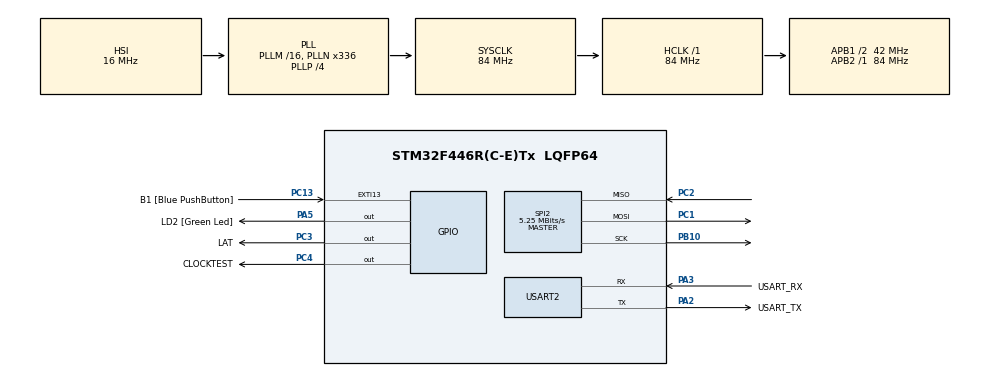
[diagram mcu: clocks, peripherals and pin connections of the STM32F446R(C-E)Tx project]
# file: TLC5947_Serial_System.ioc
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Mcu.Family=STM32F4
Mcu.Name=STM32F446R(C-E)Tx
Mcu.Package=LQFP64
NVIC.PriorityGroup=NVIC_PRIORITYGROUP_0
PA13.GPIO_Label=TMS
PA13.Mode=Serial_Wire
PA13.Signal=SYS_JTMS-SWDIO
PA14.GPIO_Label=TCK
PA14.Mode=Serial_Wire
PA14.Signal=SYS_JTCK-SWCLK
PA2.GPIO_Label=USART_TX
PA2.Mode=Asynchronous
PA2.Signal=USART2_TX
PA3.GPIO_Label=USART_RX
PA3.Mode=Asynchronous
PA3.Signal=USART2_RX
PA5.GPIO_Label=LD2 [Green Led]
PA5.Signal=GPIO_Output
PB10.Mode=Full_Duplex_Master
PB10.Signal=SPI2_SCK
PB3.GPIO_Label=SWO
PB3.Signal=SYS_JTDO-SWO
PC1.Mode=Full_Duplex_Master
PC1.Signal=SPI2_MOSI
PC13.GPIO_Label=B1 [Blue PushButton]
PC13.GPIO_ModeDefaultEXTI=GPIO_MODE_IT_FALLING
PC13.Signal=GPXTI13
PC14-OSC32_IN.Mode=LSE-External-Oscillator
PC14-OSC32_IN.Signal=RCC_OSC32_IN
PC15-OSC32_OUT.Mode=LSE-External-Oscillator
PC15-OSC32_OUT.Signal=RCC_OSC32_OUT
PC2.Mode=Full_Duplex_Master
PC2.Signal=SPI2_MISO
PC3.GPIO_Label=LAT
PC3.Signal=GPIO_Output
PC4.GPIO_Label=CLOCKTEST
PC4.Signal=GPIO_Output
PH0-OSC_IN.Mode=HSE-External-Oscillator
PH0-OSC_IN.Signal=RCC_OSC_IN
PH1-OSC_OUT.Mode=HSE-External-Oscillator
PH1-OSC_OUT.Signal=RCC_OSC_OUT
ProjectManager.HeapSize=0x200
ProjectManager.StackSize=0x400
ProjectManager.TargetToolchain=STM32CubeIDE
RCC.48MHZClocksFreq_Value=84000000
RCC.AHBFreq_Value=84000000
RCC.APB1CLKDivider=RCC_HCLK_DIV2
RCC.APB1Freq_Value=42000000
RCC.APB1TimFreq_Value=84000000
RCC.APB2Freq_Value=84000000
RCC.APB2TimFreq_Value=84000000
RCC.CortexFreq_Value=84000000
RCC.FLatency-AdvancedSettings=FLASH_LATENCY_2
RCC.HCLKFreq_Value=84000000
RCC.HSE_VALUE=8000000
RCC.HSI_VALUE=16000000
RCC.PLLN=336
RCC.PLLP=RCC_PLLP_DIV4
RCC.SYSCLKFreq_VALUE=84000000
RCC.SYSCLKSource=RCC_SYSCLKSOURCE_PLLCLK
RCC.USBFreq_Value=168000000
RCC.VCOOutputFreq_Value=336000000
SPI2.BaudRatePrescaler=SPI_BAUDRATEPRESCALER_8
SPI2.CalculateBaudRate=5.25 MBits/s
SPI2.DataSize=SPI_DATASIZE_8BIT
SPI2.Direction=SPI_DIRECTION_2LINES
SPI2.Mode=SPI_MODE_MASTER
SPI2.VirtualType=VM_MASTER
USART2.VirtualMode=VM_ASYNC
board=NUCLEO-F446RE

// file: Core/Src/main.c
/* USER CODE BEGIN Header */
/**
  ******************************************************************************
  * @file           : main.c
  * @brief          : Main program body
  ******************************************************************************
  * @attention
  *
  * Copyright (c) 2026 STMicroelectronics.
  * All rights reserved.
  *
  * This software is licensed under terms that can be found in the LICENSE file
  * in the root directory of this software component.
  * If no LICENSE file comes with this software, it is provided AS-IS.
  *
  ******************************************************************************
  */
/* USER CODE END Header */
#include "main.h"

/* USER CODE BEGIN Includes */
#include <math.h>
/* USER CODE END Includes */

/* USER CODE BEGIN PD */
#define TLC_CHANNELS 24
#define TLC_BITS_PER_CH 12
#define TLC_BYTES ((TLC_CHANNELS * TLC_BITS_PER_CH) / 8) // 36
/* USER CODE END PD */

SPI_HandleTypeDef hspi2;

UART_HandleTypeDef huart2;

/* USER CODE BEGIN PV */

uint16_t pwm[TLC_CHANNELS];
uint8_t dataBuffer[TLC_BYTES];

/* USER CODE END PV */

void SystemClock_Config(void);
static void MX_GPIO_Init(void);
static void MX_USART2_UART_Init(void);
static void MX_SPI2_Init(void);
/* USER CODE BEGIN PFP */

void TLC5947_PackBytes(uint16_t *pwm, uint8_t *buf);
void TLC5947_Write(void);
/* USER CODE END PFP */

int main(void)
{

  /* MCU Configuration--------------------------------------------------------*/

  /* Reset of all peripherals, Initializes the Flash interface and the Systick. */
  HAL_Init();

  /* Configure the system clock */
  SystemClock_Config();

  /* Initialize all configured peripherals */
  MX_GPIO_Init();
  MX_USART2_UART_Init();
  MX_SPI2_Init();
  /* USER CODE BEGIN 2 */

  for(int i = 0; i < TLC_CHANNELS; i++) {
  		  pwm[i] = 0;
  	  }
  pwm[0] = 4095;

  /* USER CODE END 2 */

  /* Infinite loop */
  /* USER CODE BEGIN WHILE */

  while (1)
  {

	  HAL_GPIO_WritePin(LAT_GPIO_Port, LAT_Pin, GPIO_PIN_RESET);
	  HAL_GPIO_WritePin(CLOCKTEST_GPIO_Port, CLOCKTEST_Pin, GPIO_PIN_RESET);
	  /*
	  for(int i = 0; i < TLC_BYTES; i++) {
		  dataBuffer[i] = 0;
	  }

	  int bitAmount = 0;

	  for(int i = TLC_CHANNELS - 1; i >= 0; i--) {
		  for(int j = TLC_BITS_PER_CH - 1; j >= 0; j--) {
			  if(pwm[i] & (1 << j)) {
				  dataBuffer[bitAmount / 8] |= 1 << (7 - (bitAmount % 8));
			  }
			  bitAmount++;

		  }
	  }
	  */

	  for (int i=0; i<TLC_BYTES; i++) dataBuffer[i] = 0x00; // clear all
	  dataBuffer[34] = 0x0F; // bits 11..4
	  dataBuffer[35] = 0xFF; // bits 3..0 in upper nibble

	  HAL_SPI_Transmit(&hspi2, dataBuffer, TLC_BYTES, HAL_MAX_DELAY);

	  HAL_GPIO_WritePin(LAT_GPIO_Port, LAT_Pin, GPIO_PIN_SET);
	  HAL_GPIO_WritePin(LAT_GPIO_Port, LAT_Pin, GPIO_PIN_RESET);

	  HAL_GPIO_TogglePin(CLOCKTEST_GPIO_Port, CLOCKTEST_Pin);
	  HAL_Delay(1);   // ~500 Hz GSCLK

    /* USER CODE END WHILE */

  }
}

void SystemClock_Config(void)
{
  RCC_OscInitTypeDef RCC_OscInitStruct = {0};
  RCC_ClkInitTypeDef RCC_ClkInitStruct = {0};

  /** Configure the main internal regulator output voltage
  */
  __HAL_RCC_PWR_CLK_ENABLE();
  __HAL_PWR_VOLTAGESCALING_CONFIG(PWR_REGULATOR_VOLTAGE_SCALE3);

  /** Initializes the RCC Oscillators according to the specified parameters
  * in the RCC_OscInitTypeDef structure.
  */
  RCC_OscInitStruct.OscillatorType = RCC_OSCILLATORTYPE_HSI;
  RCC_OscInitStruct.HSIState = RCC_HSI_ON;
  RCC_OscInitStruct.HSICalibrationValue = RCC_HSICALIBRATION_DEFAULT;
  RCC_OscInitStruct.PLL.PLLState = RCC_PLL_ON;
  RCC_OscInitStruct.PLL.PLLSource = RCC_PLLSOURCE_HSI;
  RCC_OscInitStruct.PLL.PLLM = 16;
  RCC_OscInitStruct.PLL.PLLN = 336;
  RCC_OscInitStruct.PLL.PLLP = RCC_PLLP_DIV4;
  RCC_OscInitStruct.PLL.PLLQ = 2;
  RCC_OscInitStruct.PLL.PLLR = 2;
  if (HAL_RCC_OscConfig(&RCC_OscInitStruct) != HAL_OK)
  {
    Error_Handler();
  }

  /** Initializes the CPU, AHB and APB buses clocks
  */
  RCC_ClkInitStruct.ClockType = RCC_CLOCKTYPE_HCLK|RCC_CLOCKTYPE_SYSCLK
                              |RCC_CLOCKTYPE_PCLK1|RCC_CLOCKTYPE_PCLK2;
  RCC_ClkInitStruct.SYSCLKSource = RCC_SYSCLKSOURCE_PLLCLK;
  RCC_ClkInitStruct.AHBCLKDivider = RCC_SYSCLK_DIV1;
  RCC_ClkInitStruct.APB1CLKDivider = RCC_HCLK_DIV2;
  RCC_ClkInitStruct.APB2CLKDivider = RCC_HCLK_DIV1;

  if (HAL_RCC_ClockConfig(&RCC_ClkInitStruct, FLASH_LATENCY_2) != HAL_OK)
  {
    Error_Handler();
  }
}

static void MX_SPI2_Init(void)
{

  /* SPI2 parameter configuration*/
  hspi2.Instance = SPI2;
  hspi2.Init.Mode = SPI_MODE_MASTER;
  hspi2.Init.Direction = SPI_DIRECTION_2LINES;
  hspi2.Init.DataSize = SPI_DATASIZE_8BIT;
  hspi2.Init.CLKPolarity = SPI_POLARITY_LOW;
  hspi2.Init.CLKPhase = SPI_PHASE_1EDGE;
  hspi2.Init.NSS = SPI_NSS_SOFT;
  hspi2.Init.BaudRatePrescaler = SPI_BAUDRATEPRESCALER_8;
  hspi2.Init.FirstBit = SPI_FIRSTBIT_MSB;
  hspi2.Init.TIMode = SPI_TIMODE_DISABLE;
  hspi2.Init.CRCCalculation = SPI_CRCCALCULATION_DISABLE;
  hspi2.Init.CRCPolynomial = 10;
  if (HAL_SPI_Init(&hspi2) != HAL_OK)
  {
    Error_Handler();
  }

}

static void MX_USART2_UART_Init(void)
{

  huart2.Instance = USART2;
  huart2.Init.BaudRate = 115200;
  huart2.Init.WordLength = UART_WORDLENGTH_8B;
  huart2.Init.StopBits = UART_STOPBITS_1;
  huart2.Init.Parity = UART_PARITY_NONE;
  huart2.Init.Mode = UART_MODE_TX_RX;
  huart2.Init.HwFlowCtl = UART_HWCONTROL_NONE;
  huart2.Init.OverSampling = UART_OVERSAMPLING_16;
  if (HAL_UART_Init(&huart2) != HAL_OK)
  {
    Error_Handler();
  }

}

static void MX_GPIO_Init(void)
{
  GPIO_InitTypeDef GPIO_InitStruct = {0};

  /* GPIO Ports Clock Enable */
  __HAL_RCC_GPIOC_CLK_ENABLE();
  __HAL_RCC_GPIOH_CLK_ENABLE();
  __HAL_RCC_GPIOA_CLK_ENABLE();
  __HAL_RCC_GPIOB_CLK_ENABLE();

  /*Configure GPIO pin Output Level */
  HAL_GPIO_WritePin(GPIOC, LAT_Pin|CLOCKTEST_Pin, GPIO_PIN_RESET);

  /*Configure GPIO pin Output Level */
  HAL_GPIO_WritePin(LD2_GPIO_Port, LD2_Pin, GPIO_PIN_RESET);

  /*Configure GPIO pin : B1_Pin */
  GPIO_InitStruct.Pin = B1_Pin;
  GPIO_InitStruct.Mode = GPIO_MODE_IT_FALLING;
  GPIO_InitStruct.Pull = GPIO_NOPULL;
  HAL_GPIO_Init(B1_GPIO_Port, &GPIO_InitStruct);

  /*Configure GPIO pins : LAT_Pin CLOCKTEST_Pin */
  GPIO_InitStruct.Pin = LAT_Pin|CLOCKTEST_Pin;
  GPIO_InitStruct.Mode = GPIO_MODE_OUTPUT_PP;
  GPIO_InitStruct.Pull = GPIO_NOPULL;
  GPIO_InitStruct.Speed = GPIO_SPEED_FREQ_LOW;
  HAL_GPIO_Init(GPIOC, &GPIO_InitStruct);

  /*Configure GPIO pin : LD2_Pin */
  GPIO_InitStruct.Pin = LD2_Pin;
  GPIO_InitStruct.Mode = GPIO_MODE_OUTPUT_PP;
  GPIO_InitStruct.Pull = GPIO_NOPULL;
  GPIO_InitStruct.Speed = GPIO_SPEED_FREQ_LOW;
  HAL_GPIO_Init(LD2_GPIO_Port, &GPIO_InitStruct);

}

void Error_Handler(void)
{
  __disable_irq();
  while (1)
  {
  }
}
